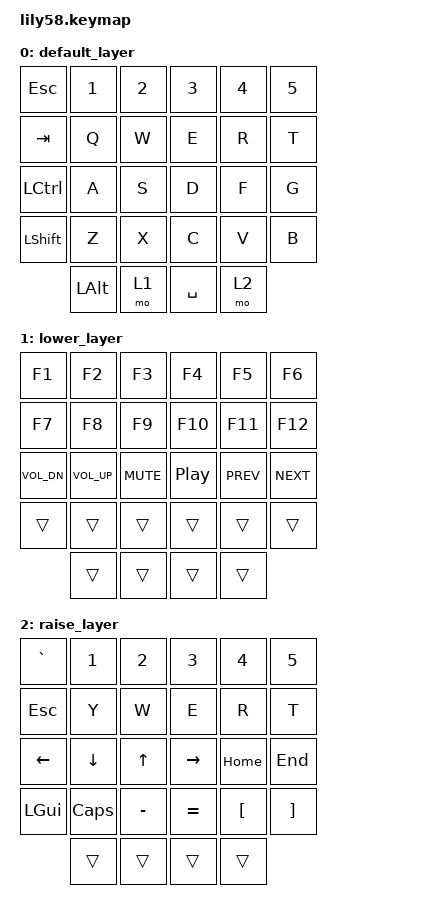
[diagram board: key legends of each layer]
/*
 * Copyright (c) 2024 ZMK Contributors
 *
 * SPDX-License-Identifier: MIT
 *
 * Lily58 QWERTZ Gaming Layout (left half only)
 * ==============================================
 * Designed for a gamer new to split keyboards.
 *
 * IMPORTANT QWERTZ NOTE:
 * On German QWERTZ, Z and Y are physically swapped vs QWERTY.
 * In ZMK HID codes: &kp Z = physical Z position → QWERTZ outputs 'Y'
 *                   &kp Y = physical Y position → QWERTZ outputs 'Z'
 *
 * Default Layer: Standard QWERTZ left half — for typing/learning
 * Lower  Layer: Gaming F-keys (F1-F12) + media controls
 * Raise  Layer: Gaming extras (Z key, arrows, symbols)
 *
 * Thumb cluster (default): LALT | LOWER(hold) | SPACE | RAISE(hold)
 */

#include <behaviors.dtsi>
#include <dt-bindings/zmk/keys.h>

/ {
    keymap {
        compatible = "zmk,keymap";

        /* ===================================================================
         * DEFAULT LAYER — Standard QWERTZ (left half)
         * ┌──────┬─────┬─────┬─────┬─────┬─────┐
         * │ ESC  │  1  │  2  │  3  │  4  │  5  │
         * ├──────┼─────┼─────┼─────┼─────┼─────┤
         * │ TAB  │  Q  │  W  │  E  │  R  │  T  │
         * ├──────┼─────┼─────┼─────┼─────┼─────┤
         * │LCTRL │  A  │  S  │  D  │  F  │  G  │
         * ├──────┼─────┼─────┼─────┼─────┼─────┤
         * │LSHFT │  Y  │  X  │  C  │  V  │  B  │ ← Y = &kp Z (QWERTZ swap)
         * └──────┴─────┴─────┴─────┴─────┴─────┘
         *      ┌──────┬──────┬──────┬──────┐
         *      │ LALT │LOWER │ SPACE│ RAISE│
         *      └──────┴──────┴──────┴──────┘
         *
         * Hold LOWER → gaming function keys layer
         * Hold RAISE → Z key, navigation, symbols layer
         * =================================================================== */
        default_layer {
            bindings = <
                &kp ESC   &kp N1   &kp N2   &kp N3   &kp N4   &kp N5
                &kp TAB   &kp Q    &kp W    &kp E    &kp R    &kp T
                &kp LCTRL &kp A    &kp S    &kp D    &kp F    &kp G
                &kp LSHFT &kp Z    &kp X    &kp C    &kp V    &kp B
                              &kp LALT &mo 1   &kp SPACE &mo 2
            >;
        };

        /* ===================================================================
         * LOWER LAYER — Gaming F-Keys & Media Controls
         * Hold LOWER (inner thumb) to access.
         * ┌──────┬─────┬─────┬─────┬─────┬─────┐
         * │  F1  │ F2  │ F3  │ F4  │ F5  │ F6  │
         * ├──────┼─────┼─────┼─────┼─────┼─────┤
         * │  F7  │ F8  │ F9  │ F10 │ F11 │ F12 │
         * ├──────┼─────┼─────┼─────┼─────┼─────┤
         * │ VOL- │ VOL+│ MUTE│PLAY │ PREV│ NEXT│
         * ├──────┼─────┼─────┼─────┼─────┼─────┤
         * │trans │trans│trans│trans│trans│trans│ ← bottom row still works
         * └──────┴─────┴─────┴─────┴─────┴─────┘
         *      ┌──────┬──────┬──────┬──────┐
         *      │trans │ trans│ trans│ trans│ ← thumbs still work
         *      └──────┴──────┴──────┴──────┘
         * =================================================================== */
        lower_layer {
            bindings = <
                &kp F1     &kp F2     &kp F3     &kp F4     &kp F5     &kp F6
                &kp F7     &kp F8     &kp F9     &kp F10    &kp F11    &kp F12
                &kp C_VOL_DN  &kp C_VOL_UP  &kp C_MUTE  &kp C_PP  &kp C_PREV  &kp C_NEXT
                &trans     &trans     &trans     &trans     &trans     &trans
                              &trans     &trans     &trans     &trans
            >;
        };

        /* ===================================================================
         * RAISE LAYER — Gaming Extras (Z, Arrows, Symbols)
         * Hold RAISE (inner thumb) to access.
         * ┌──────┬─────┬─────┬─────┬─────┬─────┐
         * │  `   │  1  │  2  │  3  │  4  │  5  │
         * ├──────┼─────┼─────┼─────┼─────┼─────┤
         * │ ESC  │  Z  │  W  │  E  │  R  │  T  │ ← Z = &kp Y (QWERTZ swap)
         * ├──────┼─────┼─────┼─────┼─────┼─────┤
         * │ LEFT │DOWN │ UP  │RIGHT│HOME │ END │ ← arrow/nav cluster
         * ├──────┼─────┼─────┼─────┼─────┼─────┤
         * │ LGUI │CAPS │  -  │  =  │  [  │  ]  │ ← symbols + Win key
         * └──────┴─────┴─────┴─────┴─────┴─────┘
         *      ┌──────┬──────┬──────┬──────┐
         *      │trans │ trans│ trans│ trans│ ← thumbs still work
         *      └──────┴──────┴──────┴──────┘
         * =================================================================== */
        raise_layer {
            bindings = <
                &kp GRAVE  &kp N1    &kp N2    &kp N3    &kp N4    &kp N5
                &kp ESC    &kp Y     &kp W     &kp E     &kp R     &kp T
                &kp LEFT   &kp DOWN  &kp UP    &kp RIGHT &kp HOME  &kp END
                &kp LGUI   &kp CAPS  &kp MINUS &kp EQUAL &kp LBKT  &kp RBKT
                              &trans   &trans    &trans    &trans
            >;
        };
    };
};
